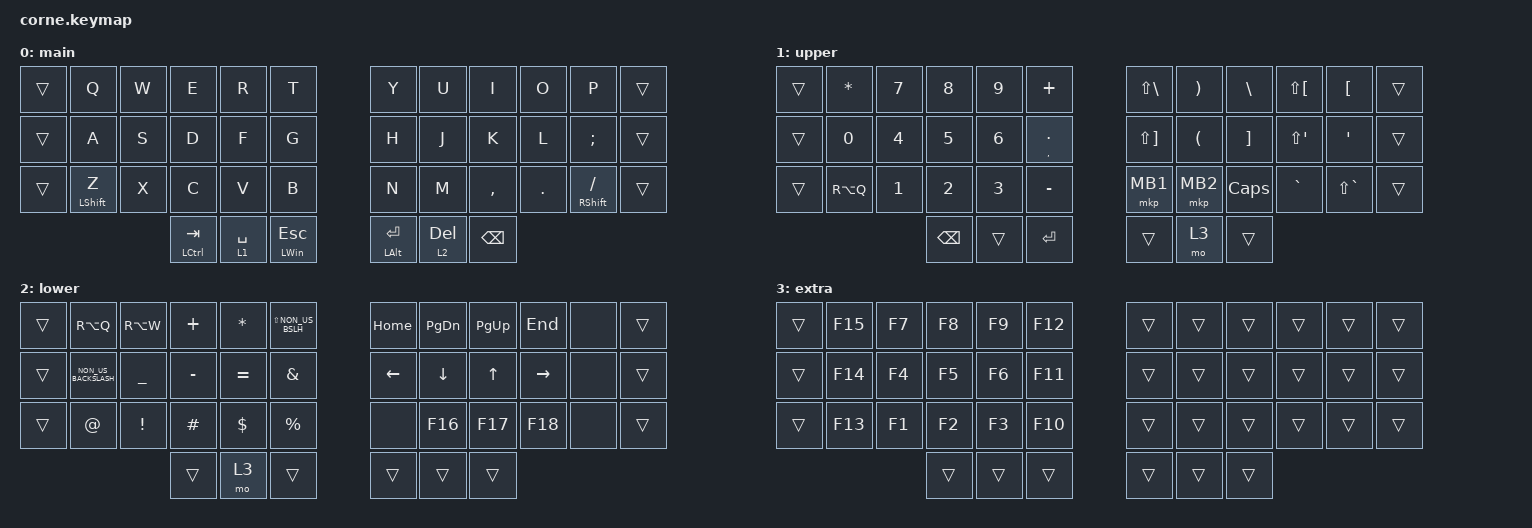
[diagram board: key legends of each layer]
/*
 * Copyright (c) 2020 The ZMK Contributors
 *
 * SPDX-License-Identifier: MIT
 */

#include <behaviors.dtsi>
#include <dt-bindings/zmk/keys.h>
#include <dt-bindings/zmk/pointing.h>

/*
 * Desk-mouse hardware (PMW3360 on the right half) + the split plumbing that
 * carries its motion to the left/central half. See config/mouse.dtsi for the
 * wiring TODOs. This is the only addition on top of the base corne-zmk keymap.
 *
 * Layer indices used below (unchanged from corne-zmk):
 *   0 = main   1 = upper (hold left thumb SPACE)   2 = lower   3 = extra
 * The `upper` layer already carries &mkp MB1/MB2, so it's the natural
 * hold-to-mouse gate -- see the `layers` note in mouse.dtsi.
 */
#include "mouse.dtsi"

&lt { tapping-term-ms = <150>; };

&mt { tapping-term-ms = <150>; };

/ {
    behaviors {
        // Shift no X (mao esquerda): so segura se a proxima tecla for da mao DIREITA

        lsft: left_shift_positional {
            compatible = "zmk,behavior-hold-tap";
            #binding-cells = <2>;
            flavor = "balanced";
            tapping-term-ms = <200>;
            quick-tap-ms = <175>;
            require-prior-idle-ms = <125>;
            bindings = <&kp>, <&kp>;

            hold-trigger-key-positions = <6 7 8 9 10 11 18 19 20 21 22 23 30 31 32 33 34 35 39 40 41>;
            hold-trigger-on-release;
        };

        // Shift no . (mao direita): so segura se a proxima tecla for da mao ESQUERDA

        rsft: right_shift_positional {
            compatible = "zmk,behavior-hold-tap";
            #binding-cells = <2>;
            flavor = "balanced";
            tapping-term-ms = <200>;
            quick-tap-ms = <175>;
            require-prior-idle-ms = <125>;
            bindings = <&kp>, <&kp>;

            hold-trigger-key-positions = <0 1 2 3 4 5 12 13 14 15 16 17 24 25 26 27 28 29 36 37 38>;
            hold-trigger-on-release;
        };
    };

    combos { compatible = "zmk,combos"; };

    keymap {
        compatible = "zmk,keymap";

        main {
            // -----------------------------------------------------------------------------------------
            // |  TAB |  Q  |  W  |  E  |  R  |  T  |   |  Y  |  U   |  I  |  O  |  P  | BSPC |
            // | CTRL |  A  |  S  |  D  |  F  |  G  |   |  H  |  J   |  K  |  L  |  ;  |  '   |
            // | SHFT |  Z  |  X  |  C  |  V  |  B  |   |  N  |  M   |  ,  |  .  |  /  | ESC  |
            //                    | GUI | LWR | SPC |   | ENT | RSE  | ALT |

            bindings = <
&trans  &kp Q               &kp W  &kp E          &kp R        &kp T               &kp Y               &kp U         &kp I          &kp O    &kp P                    &trans
&trans  &kp A               &kp S  &kp D          &kp F        &kp G               &kp H               &kp J         &kp K          &kp L    &kp SEMI                 &trans
&trans  &lsft LEFT_SHIFT Z  &kp X  &kp C          &kp V        &kp B               &kp N               &kp M         &kp COMMA      &kp DOT  &rsft RIGHT_SHIFT SLASH  &trans
                                   &mt LCTRL TAB  &lt 1 SPACE  &mt LEFT_WIN ESC    &mt LEFT_ALT ENTER  &lt 2 DELETE  &kp BACKSPACE
            >;
        };

        upper {
            bindings = <
&trans  &kp ASTERISK  &kp NUMBER_7  &kp NUMBER_8   &kp NUMBER_9  &kp PLUS            &kp LS(BACKSLASH)      &kp RIGHT_PARENTHESIS  &kp BACKSLASH      &kp LS(LEFT_BRACKET)  &kp LEFT_BRACKET  &trans
&trans  &kp NUMBER_0  &kp NUMBER_4  &kp NUMBER_5   &kp NUMBER_6  &mt COMMA PERIOD    &kp LS(RIGHT_BRACKET)  &kp LEFT_PARENTHESIS   &kp RIGHT_BRACKET  &kp LS(APOSTROPHE)    &kp APOSTROPHE    &trans
&trans  &kp RA(Q)     &kp NUMBER_1  &kp NUMBER_2   &kp NUMBER_3  &kp MINUS           &mkp MB1               &mkp MB2               &kp CAPSLOCK       &kp GRAVE             &kp LS(GRAVE)     &trans
                                    &kp BACKSPACE  &trans        &kp ENTER           &trans                 &mo 3                  &trans
            >;
        };

        lower {
            bindings = <
&trans  &kp RA(Q)             &kp RA(W)        &kp PLUS   &kp ASTERISK  &kp LS(NON_US_BSLH)    &kp HOME        &kp PAGE_DOWN   &kp PAGE_UP   &kp END          &none  &trans
&trans  &kp NON_US_BACKSLASH  &kp UNDERSCORE   &kp MINUS  &kp EQUAL     &kp AMPERSAND          &kp LEFT_ARROW  &kp DOWN_ARROW  &kp UP_ARROW  &kp RIGHT_ARROW  &none  &trans
&trans  &kp AT_SIGN           &kp EXCLAMATION  &kp HASH   &kp DOLLAR    &kp PERCENT            &none           &kp F16         &kp F17       &kp F18          &none  &trans
                                               &trans     &mo 3         &trans                 &trans          &trans          &trans
            >;
        };

        extra {
            bindings = <
&trans  &kp F15  &kp F7  &kp F8  &kp F9  &kp F12    &trans  &trans  &trans  &trans  &trans  &trans
&trans  &kp F14  &kp F4  &kp F5  &kp F6  &kp F11    &trans  &trans  &trans  &trans  &trans  &trans
&trans  &kp F13  &kp F1  &kp F2  &kp F3  &kp F10    &trans  &trans  &trans  &trans  &trans  &trans
                         &trans  &trans  &trans     &trans  &trans  &trans
            >;
        };
    };
};
